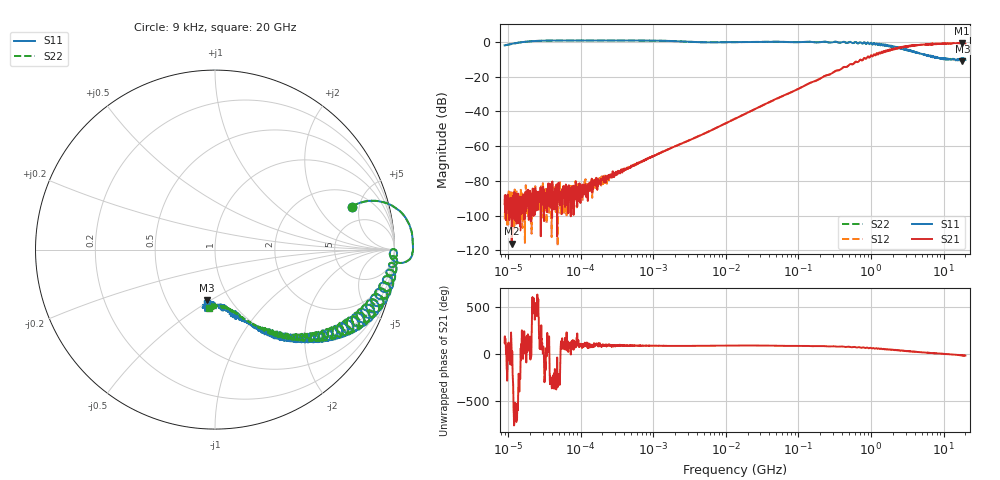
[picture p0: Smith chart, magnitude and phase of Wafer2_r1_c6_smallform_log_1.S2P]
!  2-Port S-parameters saved by WinCal
! VAR MeasName=S-Parameters (CALIBRATED_DATA) read from VNA (P5004A)
! VAR MeasDate=26/04/2024 18:46:59
! VAR NAME=Wafer2_r1_c6_smallform_log
! VAR FILENAME=Wafer2_r1_c6_smallform_log_1.S2P
! VAR DATE=26/04/2024 18:46:59
! VAR PHYS_PORTS=1,2
! VAR ObjTypeName=DATASET
! VAR IndexType=Frequency
# Hz S MA R 50
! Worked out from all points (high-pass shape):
!   2000 points, 9 kHz to 20 GHz, reference 50 ohm
!   highest |S21| = -0.64 dB at 18.05 GHz (marker M1); lowest = -116.2 dB at 11.29 kHz (marker M2)
!   |S21| within 3 dB of the highest: 2.261 GHz to 2.314 GHz (53.26 MHz wide, 2.33 % of centre); 2.348 GHz to end of sweep (the widest 2 of 3)
!   lowest |S11| = -10.9 dB at 18.19 GHz (marker M3), VSWR 1.79, Z = 39.3 - j24 ohm
!   |S11| at or under -10 dB: 12.17 GHz to 12.91 GHz (733.1 MHz wide, 5.85 % of centre); 14.31 GHz to 15.24 GHz (930.7 MHz wide, 6.3 % of centre); 15.4 GHz to 16.01 GHz (611.2 MHz wide, 3.89 % of centre) (the widest 3 of 17)
!   |S22| runs from -10.5 to 0.9 dB; largest |S21 - S12| = 0.036
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9000  0.7977 17.3  2.136e-05 121.3  7.759e-06 -131.0  0.7978 17.3
11289.3  0.8815 17.8  1.545e-06 5.8  2.841e-05 94.1  0.8813 17.8
18424.29  1.026 13.4  2.6e-05 20.3  4.73e-05 -157.2  1.026 13.4
27543.22  1.08 9.0  3.157e-05 63.8  1.539e-05 137.7  1.08 9.0
103439.5  1.102 2.1  6.285e-05 90.7  5.701e-05 104.0  1.102 2.1
180295.5  1.103 1.0  8.927e-05 92.7  9.87e-05 78.5  1.103 1.0
231171.4  1.103 0.6  0.0001219 93.5  8.292e-05 85.1  1.103 0.6
283683.2  1.103 0.3  0.000148 88.9  0.0001515 90.2  1.103 0.3
1180198  1.09 -2.6  0.0005959 85.4  0.0006159 86.8  1.09 -2.6
4530556  0.9807 -2.6  0.00206 86.6  0.00208 86.6  0.9808 -2.6
1.346554e7  0.986 0.1  0.006149 89.1  0.006201 88.7  0.9861 0.1
1.105652e8  0.9952 -2.1  0.04947 86.6  0.0498 86.2  0.9948 -2.1
1.536358e8  1.001 -5.5  0.0694 82.8  0.06873 83.0  1.001 -5.4
2.966476e8  0.9827 -6.5  0.1289 81.5  0.1302 81.4  0.9826 -6.5
7.506948e8  0.8991 -20.7  0.2947 66.7  0.294 66.9  0.9008 -20.4
1.752917e9  0.7489 -37.4  0.5528 48.7  0.5556 48.6  0.7485 -36.9
2.945676e9  0.6066 -50.5  0.7208 33.7  0.7272 33.7  0.6092 -50.1
5.646226e9  0.4262 -67.6  0.8469 15.0  0.852 14.6  0.4248 -66.6
1.347662e10  0.3274 -89.0  0.9246 -6.1  0.9205 -7.0  0.3134 -86.4
1.805428e10  0.3401 -99.0  0.9287 -15.1  0.9026 -16.6  0.2972 -92.1
1.818676e10  0.2843 -98.9  0.8824 -16.5  0.8703 -14.4  0.3275 -90.8
2e10  0.3023 -98.7  0.8867 -17.7  0.8999 -17.0  0.3258 -96.2
